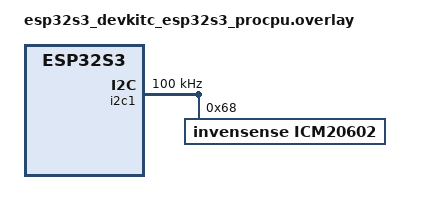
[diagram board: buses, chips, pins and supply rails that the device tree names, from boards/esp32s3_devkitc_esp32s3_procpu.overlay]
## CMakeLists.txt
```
cmake_minimum_required(VERSION 3.20)

find_package(Zephyr REQUIRED HINTS $ENV{ZEPHYR_BASE})
project(BC_IMU20602 LANGUAGES C)

target_include_directories(app PRIVATE ${CMAKE_CURRENT_SOURCE_DIR}/include)

target_sources(app PRIVATE
    src/main.c
    lib/balance.c
)
```

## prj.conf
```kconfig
CONFIG_PRINTK=y
CONFIG_GPIO=y
CONFIG_I2C=y
CONFIG_SPI=y
CONFIG_CBPRINTF_FP_SUPPORT=y
```

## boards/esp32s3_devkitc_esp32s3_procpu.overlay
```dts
#include <zephyr/dt-bindings/i2c/i2c.h>
#include <zephyr/dt-bindings/pinctrl/esp32s3-pinctrl.h>

/ {
    aliases {
        sensor-i2c = &i2c1;
    };
};

&pinctrl {
    i2c1_default: i2c1_default {
        group1 {
            pinmux = <I2C1_SCL_GPIO10>, <I2C1_SDA_GPIO11>;
            drive-open-drain;
            bias-pull-up;
        };
    };
};

&i2c1 {
    status = "okay";
    clock-frequency = <I2C_BITRATE_STANDARD>;
    pinctrl-0 = <&i2c1_default>;
    pinctrl-names = "default";

    icm20602: icm20602@68 {
        compatible = "invensense,icm20602";
        reg = <0x68>;
    };
};
```

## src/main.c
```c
#include <zephyr/kernel.h>
#include <zephyr/device.h>
#include <zephyr/drivers/i2c.h>
#include <stdio.h>

#define ICM20602_I2C_ADDR 0x68
#define REG_WHO_AM_I      0x75
#define REG_PWR_MGMT_1    0x6B
#define REG_ACCEL_XOUT_H  0x3B

/* Khởi tạo thiết bị I2C từ Devicetree */
#define I2C_NODE DT_NODELABEL(i2c1)
static const struct device *const i2c_dev = DEVICE_DT_GET(I2C_NODE);

void read_icm20602_i2c(void) {
    uint8_t id;
    
    if (!device_is_ready(i2c_dev)) {
        printk("Loi: I2C bus chua san sang!\n");
        return;
    }

    /* Đọc WHO_AM_I (Kết quả chuẩn là 0x12) */
    i2c_reg_read_byte(i2c_dev, ICM20602_I2C_ADDR, REG_WHO_AM_I, &id);
    printk("I2C WHO_AM_I: 0x%02X\n", id);

    /* Đánh thức cảm biến */
    i2c_reg_write_byte(i2c_dev, ICM20602_I2C_ADDR, REG_PWR_MGMT_1, 0x01);
    k_msleep(10);

    /* Đọc Burst 6 byte gia tốc thô */
    uint8_t buf[6];
    if (i2c_burst_read(i2c_dev, ICM20602_I2C_ADDR, REG_ACCEL_XOUT_H, buf, 6) == 0) {
        int16_t ax = (int16_t)((buf[0] << 8) | buf[1]);
        printk("I2C Accel X (Raw): %d\n", ax);
    }
}

int main(void) {
    read_icm20602_i2c();
    return 0;
}
```
